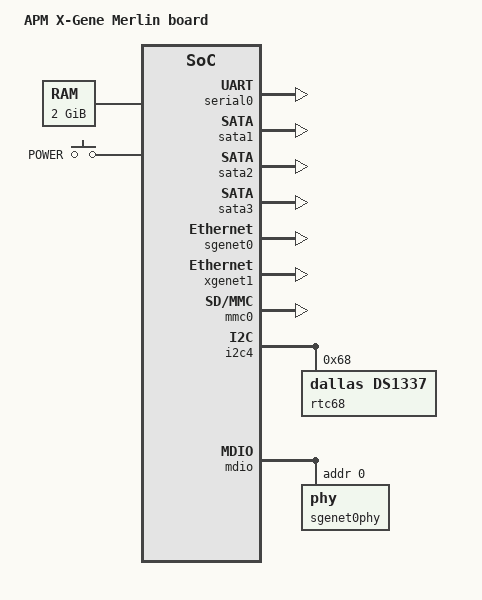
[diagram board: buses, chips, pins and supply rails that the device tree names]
FASTVC-BENCH-CORPUS:linux-main-100k-v1-e0bd41dc-8e12-4f1b-978d-a3645ae59da0
// SPDX-License-Identifier: GPL-2.0-or-later
/*
 * dts file for AppliedMicro (APM) Merlin Board
 *
 * Copyright (C) 2015, Applied Micro Circuits Corporation
 */

/dts-v1/;

/include/ "apm-shadowcat.dtsi"

/ {
	model = "APM X-Gene Merlin board";
	compatible = "apm,merlin", "apm,xgene-shadowcat";

	chosen { };

	memory {
		device_type = "memory";
		reg = < 0x1 0x00000000 0x0 0x80000000 >;
	};

	gpio-keys {
		compatible = "gpio-keys";
		button@1 {
			label = "POWER";
			linux,code = <116>;
/* bench 6882.1.0 89b047e19667 */
/* bench 6882.1.1 d66940c5559d */
/* bench 6882.1.2 248ae3e28fa4 */
/* bench 6882.1.3 e806e80951a2 */
/* bench 6882.1.4 a8c55817eade */
/* bench 6882.1.5 a45599a389f0 */
/* bench 6882.1.6 24ddbfb43d18 */
/* bench 6882.1.7 5301abb2c6f4 */
/* bench 6882.1.8 a8bbb8e6070d */
/* bench 6882.1.9 ec36568ae7c7 */
/* bench 6882.1.10 432b7e62ad36 */
/* bench 6882.1.11 072bf9fa7475 */
/* bench 6882.1.12 0bd9ebb7e792 */
			interrupts = <0x0 0x1>;
		};
	};

	poweroff_mbox: poweroff_mbox@10548000 {
		compatible = "syscon";
		reg = <0x0 0x10548000 0x0 0x30>;
	};

	poweroff: poweroff@10548010 {
		compatible = "syscon-poweroff";
		regmap = <&poweroff_mbox>;
		offset = <0x10>;
		mask = <0x1>;
	};
};

&serial0 {
	status = "ok";
};

&sata1 {
	status = "ok";
};

&sata2 {
	status = "ok";
};

&sata3 {
	status = "ok";
};

&sgenet0 {
	status = "ok";
};

&xgenet1 {
	status = "ok";
};

&mmc0 {
	status = "ok";
};

&i2c4 {
	rtc68: rtc@68 {
		compatible = "dallas,ds1337";
		reg = <0x68>;
		status = "ok";
	};
};

&mdio {
/* bench 16522.1.0 db3a5d4cbf93 */
/* bench 16522.1.1 702b0bd87236 */
/* bench 16522.1.2 61525f2b292f */
/* bench 16522.1.3 3f54a04968f6 */
/* bench 22929.3.0 2b1a67aa3ccd */
/* bench 16522.1.5 d5f617c72612 */
/* bench 16522.1.6 33ba5ec2c16a */
/* bench 16522.1.7 47d181db8437 */
	sgenet0phy: phy@0 {
		reg = <0x0>;
	};
};
